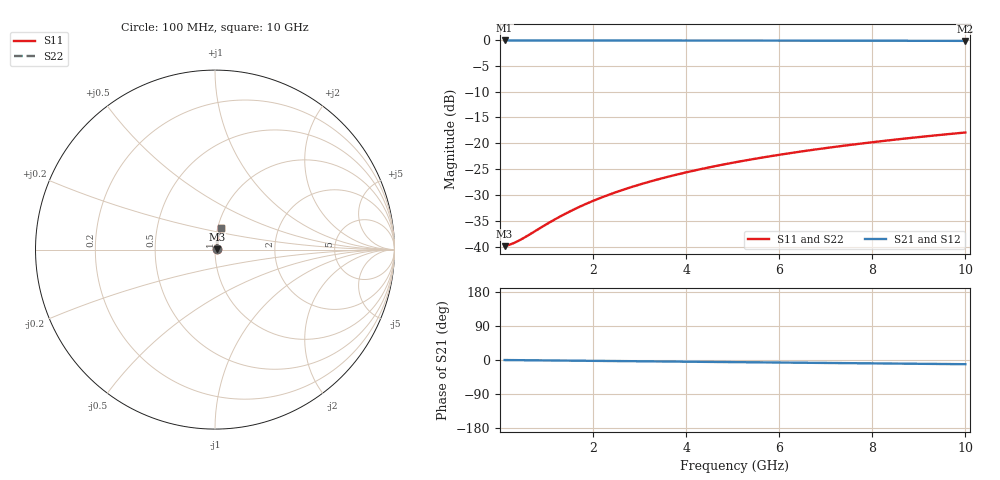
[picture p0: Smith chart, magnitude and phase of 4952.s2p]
# Hz S RI R 50.00
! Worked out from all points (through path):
!   100 points, 100 MHz to 10 GHz, reference 50 ohm
!   highest |S21| = -0.09 dB at 100 MHz (marker M1); lowest = -0.2 dB at 10 GHz (marker M2)
!   group delay of S21, straight-line fit = 3.08 ps
!   lowest |S11| = -39.9 dB at 100 MHz (marker M3), VSWR 1.02, Z = 51 + j0.129 ohm
!   |S11| at or under -10 dB: start of sweep to end of sweep
!   |S22| runs from -39.9 to -17.9 dB; largest |S21 - S12| = 0
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1e8  0.01 0.00126  0.99 -0.00192  0.99 -0.00192  0.01 0.00126
2e8  0.0101 0.00252  0.9899 -0.00385  0.9899 -0.00385  0.0101 0.00252
3e8  0.0101 0.00378  0.9899 -0.00577  0.9899 -0.00577  0.0101 0.00378
4e8  0.0102 0.00505  0.9898 -0.00769  0.9898 -0.00769  0.0102 0.00505
6e8  0.0103 0.00757  0.9897 -0.0115  0.9897 -0.0115  0.0103 0.00757
1e9  0.0105 0.0126  0.9894 -0.0192  0.9894 -0.0192  0.0105 0.0126
1.2e9  0.0107 0.0151  0.9893 -0.0231  0.9893 -0.0231  0.0107 0.0151
1.5e9  0.0109 0.0189  0.989 -0.0288  0.989 -0.0288  0.0109 0.0189
1.8e9  0.0112 0.0227  0.9887 -0.0346  0.9887 -0.0346  0.0112 0.0227
2.1e9  0.0115 0.0264  0.9883 -0.0403  0.9883 -0.0403  0.0115 0.0264
2.5e9  0.012 0.0314  0.9878 -0.048  0.9878 -0.048  0.012 0.0314
2.9e9  0.0126 0.0365  0.9872 -0.0557  0.9872 -0.0557  0.0126 0.0365
3.4e9  0.0134 0.0427  0.9863 -0.0652  0.9863 -0.0652  0.0134 0.0427
3.8e9  0.0142 0.0477  0.9855 -0.0728  0.9855 -0.0728  0.0142 0.0477
4.2e9  0.015 0.0526  0.9846 -0.0805  0.9846 -0.0805  0.015 0.0526
4.6e9  0.0159 0.0576  0.9836 -0.0881  0.9836 -0.0881  0.0159 0.0576
5.1e9  0.0171 0.0637  0.9823 -0.0975  0.9823 -0.0975  0.0171 0.0637
5.9e9  0.0193 0.0735  0.9799 -0.1126  0.9799 -0.1126  0.0193 0.0735
6.7e9  0.0217 0.0833  0.9772 -0.1277  0.9772 -0.1277  0.0217 0.0833
7.5e9  0.0245 0.0929  0.9742 -0.1426  0.9742 -0.1426  0.0245 0.0929
8.4e9  0.028 0.1036  0.9704 -0.1593  0.9704 -0.1593  0.028 0.1036
1e10  0.0351 0.1222  0.9627 -0.1886  0.9627 -0.1886  0.0351 0.1222
